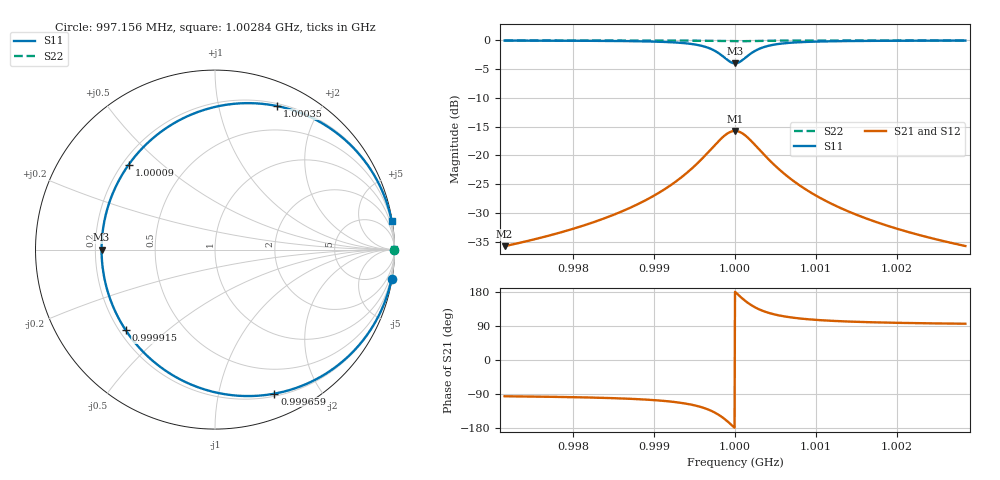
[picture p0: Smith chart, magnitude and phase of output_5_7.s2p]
! File generated for n1 = 5, n2 = 7
! b1 = 4.641589
! b2 = 0.046416
! Q0 = 10000.000000
! f0 = 1000000000.000000
! n = 1001
! rel_span = 10.000000
# Hz S RI R 50
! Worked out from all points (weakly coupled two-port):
!   1001 points, 997.156 MHz to 1.00284 GHz, reference 50 ohm
!   highest |S21| = -15.75 dB at 1 GHz (marker M1); lowest = -35.8 dB at 997.156 MHz (marker M2)
!   lowest |S11| = -4.0 dB at 1 GHz (marker M3), VSWR 4.44, Z = 11.3 + j0 ohm
!   |S11| at or under -10 dB: nowhere
!   |S22| runs from -0.1 to 0.0 dB; largest |S21 - S12| = 0
!   S11 on the Smith chart (normalised r, x): 997.156 MHz: 0, -12; 999.659 MHz: 0.23, -1.47; 999.915 MHz: 0.23, -0.37; 1.00009 GHz: 0.23, +0.39; 1.00035 GHz: 0.23, +1.49; 1.00284 GHz: 0, +12
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9.97156e8  0.9839 -0.1614  -0.00161 -0.0161  -0.00161 -0.0161  0.9998 -0.00161
9.981059e8  0.9641 -0.2394  -0.00359 -0.0239  -0.00359 -0.0239  0.9996 -0.00239
9.986463e8  0.9311 -0.3282  -0.00689 -0.0328  -0.00689 -0.0328  0.9993 -0.00328
9.990558e8  0.8644 -0.4505  -0.0136 -0.0451  -0.0136 -0.0451  0.9986 -0.00451
9.994198e8  0.684 -0.6449  -0.0316 -0.0645  -0.0316 -0.0645  0.9968 -0.00645
9.995506e8  0.5334 -0.7374  -0.0467 -0.0737  -0.0467 -0.0737  0.9953 -0.00737
9.996587e8  0.3313 -0.8026  -0.0669 -0.0803  -0.0669 -0.0803  0.9933 -0.00803
9.998009e8  -0.0953 -0.7668  -0.1095 -0.0767  -0.1095 -0.0767  0.989 -0.00767
9.998578e8  -0.3056 -0.6529  -0.1306 -0.0653  -0.1306 -0.0653  0.9869 -0.00653
9.999147e8  -0.4973 -0.4492  -0.1497 -0.0449  -0.1497 -0.0449  0.985 -0.00449
1e9  -0.6321 0  -0.1632 0  -0.1632 0  0.9837 0
1.000046e9  -0.5913 0.2546  -0.1591 0.0255  -0.1591 0.0255  0.9841 0.00255
1.000091e9  -0.4805 0.4737  -0.148 0.0474  -0.148 0.0474  0.9852 0.00474
1.000142e9  -0.3057 0.6528  -0.1306 0.0653  -0.1306 0.0653  0.9869 0.00653
1.000199e9  -0.0954 0.7667  -0.1095 0.0767  -0.1095 0.0767  0.989 0.00767
1.000262e9  0.116 0.8132  -0.0884 0.0813  -0.0884 0.0813  0.9912 0.00813
1.000347e9  0.344 0.8002  -0.0656 0.08  -0.0656 0.08  0.9934 0.008
1.000455e9  0.5414 0.7336  -0.0459 0.0734  -0.0459 0.0734  0.9954 0.00734
1.000586e9  0.6886 0.6413  -0.0311 0.0641  -0.0311 0.0641  0.9969 0.00641
1.00095e9  0.8656 0.4486  -0.0134 0.0449  -0.0134 0.0449  0.9987 0.00449
1.0019e9  0.9642 0.2392  -0.00358 0.0239  -0.00358 0.0239  0.9996 0.00239
1.002844e9  0.9838 0.1618  -0.00162 0.0162  -0.00162 0.0162  0.9998 0.00162
